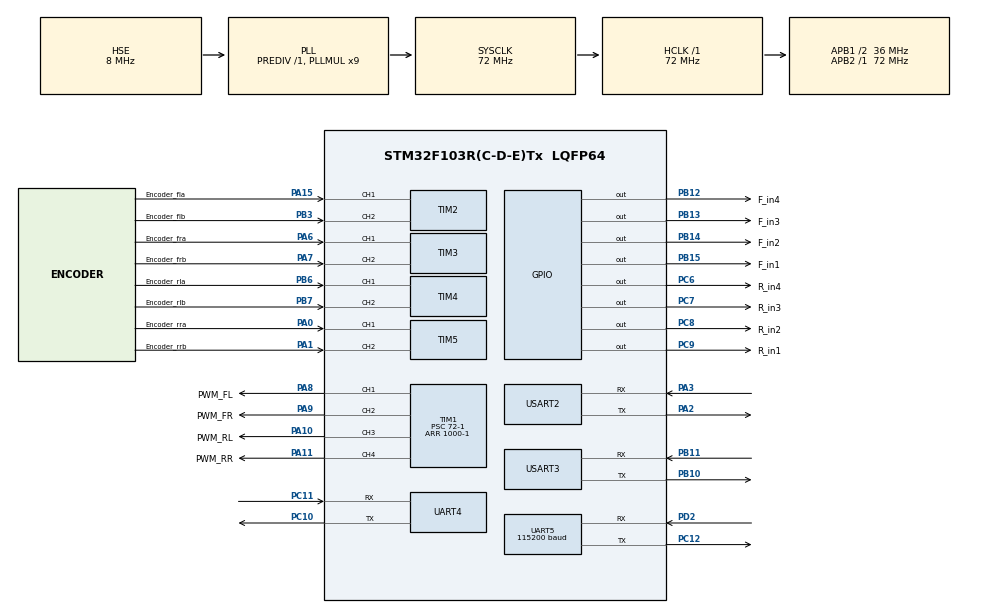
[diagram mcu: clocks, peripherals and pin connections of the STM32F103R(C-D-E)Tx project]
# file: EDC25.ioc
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Dma.Request0=UART4_RX
Dma.Request1=USART3_RX
Dma.UART4_RX.0.Direction=DMA_PERIPH_TO_MEMORY
Dma.UART4_RX.0.Instance=DMA2_Channel3
Dma.UART4_RX.0.MemDataAlignment=DMA_MDATAALIGN_BYTE
Dma.UART4_RX.0.MemInc=DMA_MINC_ENABLE
Dma.UART4_RX.0.Mode=DMA_CIRCULAR
Dma.UART4_RX.0.PeriphDataAlignment=DMA_PDATAALIGN_BYTE
Dma.UART4_RX.0.PeriphInc=DMA_PINC_DISABLE
Dma.UART4_RX.0.Priority=DMA_PRIORITY_LOW
Dma.USART3_RX.1.Direction=DMA_PERIPH_TO_MEMORY
Dma.USART3_RX.1.Instance=DMA1_Channel3
Dma.USART3_RX.1.MemDataAlignment=DMA_MDATAALIGN_BYTE
Dma.USART3_RX.1.MemInc=DMA_MINC_ENABLE
Dma.USART3_RX.1.Mode=DMA_CIRCULAR
Dma.USART3_RX.1.PeriphDataAlignment=DMA_PDATAALIGN_BYTE
Dma.USART3_RX.1.PeriphInc=DMA_PINC_DISABLE
Dma.USART3_RX.1.Priority=DMA_PRIORITY_LOW
Mcu.Family=STM32F1
Mcu.Name=STM32F103R(C-D-E)Tx
Mcu.Package=LQFP64
NVIC.DMA1_Channel3_IRQn=true\:1\:0\:true\:false\:true\:false\:true\:true
NVIC.DMA2_Channel3_IRQn=true\:2\:0\:true\:false\:true\:false\:true\:true
NVIC.PriorityGroup=NVIC_PRIORITYGROUP_4
NVIC.TIM6_IRQn=true\:0\:0\:true\:false\:true\:true\:true\:true
NVIC.UART4_IRQn=true\:2\:0\:true\:false\:true\:true\:true\:true
NVIC.USART3_IRQn=true\:1\:0\:true\:false\:true\:true\:true\:true
PA0-WKUP.GPIO_Label=Encoder_rra
PA0-WKUP.Signal=S_TIM5_CH1
PA1.GPIO_Label=Encoder_rrb
PA1.Signal=S_TIM5_CH2
PA10.GPIO_Label=PWM_RL
PA10.Signal=S_TIM1_CH3
PA11.GPIO_Label=PWM_RR
PA11.Signal=S_TIM1_CH4
PA13.Mode=Serial_Wire
PA13.Signal=SYS_JTMS-SWDIO
PA14.Mode=Serial_Wire
PA14.Signal=SYS_JTCK-SWCLK
PA15.GPIO_Label=Encoder_fla
PA15.Signal=S_TIM2_CH1_ETR
PA2.Mode=Asynchronous
PA2.Signal=USART2_TX
PA3.Mode=Asynchronous
PA3.Signal=USART2_RX
PA6.GPIO_Label=Encoder_fra
PA6.Signal=S_TIM3_CH1
PA7.GPIO_Label=Encoder_frb
PA7.Signal=S_TIM3_CH2
PA8.GPIO_Label=PWM_FL
PA8.Signal=S_TIM1_CH1
PA9.GPIO_Label=PWM_FR
PA9.Signal=S_TIM1_CH2
PB10.Mode=Asynchronous
PB10.Signal=USART3_TX
PB11.Mode=Asynchronous
PB11.Signal=USART3_RX
PB12.GPIO_Label=F_in4
PB12.Signal=GPIO_Output
PB13.GPIO_Label=F_in3
PB13.Signal=GPIO_Output
PB14.GPIO_Label=F_in2
PB14.Signal=GPIO_Output
PB15.GPIO_Label=F_in1
PB15.Signal=GPIO_Output
PB3.GPIO_Label=Encoder_flb
PB3.Signal=S_TIM2_CH2
PB6.GPIO_Label=Encoder_rla
PB6.Signal=S_TIM4_CH1
PB7.GPIO_Label=Encoder_rlb
PB7.Signal=S_TIM4_CH2
PC10.Mode=Asynchronous
PC10.Signal=UART4_TX
PC11.Mode=Asynchronous
PC11.Signal=UART4_RX
PC12.Mode=Asynchronous
PC12.Signal=UART5_TX
PC6.GPIO_Label=R_in4
PC6.Signal=GPIO_Output
PC7.GPIO_Label=R_in3
PC7.Signal=GPIO_Output
PC8.GPIO_Label=R_in2
PC8.Signal=GPIO_Output
PC9.GPIO_Label=R_in1
PC9.Signal=GPIO_Output
PD0-OSC_IN.Mode=HSE-External-Oscillator
PD0-OSC_IN.Signal=RCC_OSC_IN
PD1-OSC_OUT.Mode=HSE-External-Oscillator
PD1-OSC_OUT.Signal=RCC_OSC_OUT
PD2.Mode=Asynchronous
PD2.Signal=UART5_RX
ProjectManager.HeapSize=0x200
ProjectManager.StackSize=0x400
ProjectManager.TargetToolchain=STM32CubeIDE
RCC.AHBFreq_Value=72000000
RCC.APB1CLKDivider=RCC_HCLK_DIV2
RCC.APB1Freq_Value=36000000
RCC.APB1TimFreq_Value=72000000
RCC.APB2Freq_Value=72000000
RCC.APB2TimFreq_Value=72000000
RCC.HCLKFreq_Value=72000000
RCC.PLLMUL=RCC_PLL_MUL9
RCC.PLLSourceVirtual=RCC_PLLSOURCE_HSE
RCC.SYSCLKFreq_VALUE=72000000
RCC.SYSCLKSource=RCC_SYSCLKSOURCE_PLLCLK
RCC.USBFreq_Value=72000000
SH.S_TIM1_CH1.0=TIM1_CH1,PWM Generation1 CH1
SH.S_TIM1_CH2.0=TIM1_CH2,PWM Generation2 CH2
SH.S_TIM1_CH3.0=TIM1_CH3,PWM Generation3 CH3
SH.S_TIM1_CH4.0=TIM1_CH4,PWM Generation4 CH4
SH.S_TIM2_CH1_ETR.0=TIM2_CH1,Encoder_Interface
SH.S_TIM2_CH2.0=TIM2_CH2,Encoder_Interface
SH.S_TIM3_CH1.0=TIM3_CH1,Encoder_Interface
SH.S_TIM3_CH2.0=TIM3_CH2,Encoder_Interface
SH.S_TIM4_CH1.0=TIM4_CH1,Encoder_Interface
SH.S_TIM4_CH2.0=TIM4_CH2,Encoder_Interface
SH.S_TIM5_CH1.0=TIM5_CH1,Encoder_Interface
SH.S_TIM5_CH2.0=TIM5_CH2,Encoder_Interface
TIM1.Channel-PWM\ Generation1\ CH1=TIM_CHANNEL_1
TIM1.Channel-PWM\ Generation2\ CH2=TIM_CHANNEL_2
TIM1.Channel-PWM\ Generation3\ CH3=TIM_CHANNEL_3
TIM1.Channel-PWM\ Generation4\ CH4=TIM_CHANNEL_4
TIM1.Period=1000-1
TIM1.Prescaler=72-1
TIM2.CounterMode=TIM_COUNTERMODE_UP
TIM2.EncoderMode=TIM_ENCODERMODE_TI12
TIM3.EncoderMode=TIM_ENCODERMODE_TI12
TIM4.CounterMode=TIM_COUNTERMODE_DOWN
TIM4.EncoderMode=TIM_ENCODERMODE_TI12
TIM5.EncoderMode=TIM_ENCODERMODE_TI12
TIM6.Period=10000-1
TIM6.Prescaler=72-1
UART4.VirtualMode=Asynchronous
UART5.BaudRate=115200
UART5.VirtualMode=Asynchronous
USART2.VirtualMode=VM_ASYNC
USART3.VirtualMode=VM_ASYNC
VP_TIM1_VS_ClockSourceINT.Mode=Internal
VP_TIM6_VS_ClockSourceINT.Mode=Enable_Timer
board=custom

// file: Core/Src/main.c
/* USER CODE BEGIN Header */
/**
 ******************************************************************************
 * @file           : main.c
 * @brief          : Main program body
 ******************************************************************************
 * @attention
 *
 * Copyright (c) 2023 STMicroelectronics.
 * All rights reserved.
 *
 * This software is licensed under terms that can be found in the LICENSE file
 * in the root directory of this software component.
 * If no LICENSE file comes with this software, it is provided AS-IS.
 *
 ******************************************************************************
 */
/* USER CODE END Header */
#include "main.h"
#include "dma.h"
#include "tim.h"
#include "usart.h"
#include "gpio.h"

/* USER CODE BEGIN Includes */
#include "jy62.h"
#include "motor.h"
#include "pid.h"
#include "zigbee_edc25.h"
#include "decision.h"
#include <math.h>
/* USER CODE END Includes */

void SystemClock_Config(void);

int main(void)
{

  /* MCU Configuration--------------------------------------------------------*/

  /* Reset of all peripherals, Initializes the Flash interface and the Systick. */
  HAL_Init();

  /* Configure the system clock */
  SystemClock_Config();

  /* Initialize all configured peripherals */
  MX_GPIO_Init();
  MX_DMA_Init();
  MX_TIM1_Init();
  MX_TIM2_Init();
  MX_TIM3_Init();
  MX_TIM4_Init();
  MX_TIM5_Init();
  MX_TIM6_Init();
  MX_USART2_UART_Init();
  MX_USART3_UART_Init();
  MX_UART4_Init();
  MX_UART5_Init();
  /* USER CODE BEGIN 2 */
  // Output PWM
  HAL_TIM_PWM_Start(&htim1, TIM_CHANNEL_1); // FL
  HAL_TIM_PWM_Start(&htim1, TIM_CHANNEL_2); // FR
  HAL_TIM_PWM_Start(&htim1, TIM_CHANNEL_3); // RL
  HAL_TIM_PWM_Start(&htim1, TIM_CHANNEL_4); // RR
  // Measure
  HAL_TIM_Encoder_Start(&htim2, TIM_CHANNEL_ALL); // FL
  HAL_TIM_Encoder_Start(&htim3, TIM_CHANNEL_ALL); // FR
  HAL_TIM_Encoder_Start(&htim4, TIM_CHANNEL_ALL); // RL
  HAL_TIM_Encoder_Start(&htim5, TIM_CHANNEL_ALL); // RR
  // Update PWM
  HAL_TIM_Base_Start_IT(&htim6);
  // jy62
  jy62_Init(&huart3);
  InitAngle();
  SetHorizontal();
  Calibrate();
  // zigbee
  zigbee_Init(&huart4);
  // PID
  PID_Init(&FLP_Pid, 500.0f, 10.0f, 0.0f, 40000.0f);
  PID_Init(&FRP_Pid, 500.0f, 10.0f, 0.0f, 40000.0f);
  PID_Init(&RLP_Pid, 500.0f, 10.0f, 0.0f, 40000.0f);
  PID_Init(&RRP_Pid, 500.0f, 10.0f, 0.0f, 40000.0f);
  PID_Init(&FLN_Pid, 500.0f, 10.0f, 0.0f, 40000.0f);
  PID_Init(&FRN_Pid, 500.0f, 10.0f, 0.0f, 40000.0f);
  PID_Init(&RLN_Pid, 500.0f, 10.0f, 0.0f, 40000.0f);
  PID_Init(&RRN_Pid, 500.0f, 10.0f, 0.0f, 40000.0f);

  PID_Init(&xPid, 0.5f, 0.0f, 0.0f, 50.0f);
  PID_Init(&yPid, 0.5f, 0.0f, 0.0f, 50.0f);
  PID_Init(&anglePid, 0.015f, 0.0005f, 0.01f, 20.0f);

  u1_printf("Hello\n");
  HAL_Delay(1000);
  // ready_func();
  /* USER CODE END 2 */

  /* Infinite loop */
  /* USER CODE BEGIN WHILE */
  int cnt = 0;

  while (1)
  {
    /* USER CODE END WHILE */

    /* USER CODE BEGIN 3 */
    HAL_Delay(300);
    getPosition(&now);
    nowGrid = pos2Grid(now);
    getPositionOpponent(&op);
    opGrid = pos2Grid(op);

    agility = getAgility();
    health = getHealth();
    strength = getStrength();
    maxHealth = getMaxHealth();
    wool = getWoolCount();
    emerald = getEmeraldCount();
    time = getGameTime();
    cd = (agility < 32) ? (170 - 5 * agility) : 10;

//    if (cnt == 15)
//       goal.posy = 1.5;
//    else if (cnt == 30)
//       goal.posy = -0.5;
//    else if (cnt == 45)
//    {
//       goal.posy = 0.5;
//       cnt = 0;
//    }
//    cnt ++;

    u1_printf("yaw:%f\n", yaw);
//		u1_printf("now:(%d,%d)\n", nowGrid.x, nowGrid.y);
    u1_printf("now pos:(%f,%f)\n", now.posx, now.posy);
//		u1_printf("goal:(%d,%d)\n", goalGrid.x, goalGrid.y);
    u1_printf("goal pos:(%f,%f)\n", goal.posx, goal.posy);
//		u1_printf("des:(%d,%d)\n", desGrid.x, desGrid.y);
//		u1_printf("home:(%d,%d)\n", homeGrid.x, homeGrid.y);
//		u1_printf("ophome:(%d,%d)\n", opHomeGrid.x, opHomeGrid.y);
//    u1_printf("mine: %d\n",mineNum);
//    u1_printf("07: %d\n",getOreKindOfId(7));
    u1_printf("score: %f\n", find_optimal_mine().score);
    if (getGameStage() == READY)
      ready_func();
//		    ;
    else if (getGameStage() != FINISHED)
    {
      update_mine();
      statusChange();
      switch (status)
      {
        case init:
          u1_printf("init\n");
          init_func();
          break;
        case dead:
          u1_printf("dead\n");
          dead_func();
          break;
        case protect:
          u1_printf("protect\n");
          protect_func();
          break;
        case destroy:
          u1_printf("destroy\n");
          destroy_func();
          break;
        case attack:
          u1_printf("attack\n");
          attack_func();
          break;
        case mine:
          u1_printf("mine\n");
          mine_func();
          break;
        case get_wool:
          u1_printf("get wool\n");
          get_wool_func();
          break;
        case get_enhanced:
          u1_printf("get enhanced\n");
          get_enhanced_func();
          break;
        default:
          break;
      }
    }
    else
      ;
  }
  /* USER CODE END 3 */
}

void SystemClock_Config(void)
{
  RCC_OscInitTypeDef RCC_OscInitStruct = { 0 };
  RCC_ClkInitTypeDef RCC_ClkInitStruct = { 0 };

  /** Initializes the RCC Oscillators according to the specified parameters
   * in the RCC_OscInitTypeDef structure.
   */
  RCC_OscInitStruct.OscillatorType = RCC_OSCILLATORTYPE_HSE;
  RCC_OscInitStruct.HSEState = RCC_HSE_ON;
  RCC_OscInitStruct.HSEPredivValue = RCC_HSE_PREDIV_DIV1;
  RCC_OscInitStruct.HSIState = RCC_HSI_ON;
  RCC_OscInitStruct.PLL.PLLState = RCC_PLL_ON;
  RCC_OscInitStruct.PLL.PLLSource = RCC_PLLSOURCE_HSE;
  RCC_OscInitStruct.PLL.PLLMUL = RCC_PLL_MUL9;
  if (HAL_RCC_OscConfig(&RCC_OscInitStruct) != HAL_OK)
  {
    Error_Handler();
  }

  /** Initializes the CPU, AHB and APB buses clocks
   */
  RCC_ClkInitStruct.ClockType = RCC_CLOCKTYPE_HCLK | RCC_CLOCKTYPE_SYSCLK
      | RCC_CLOCKTYPE_PCLK1 | RCC_CLOCKTYPE_PCLK2;
  RCC_ClkInitStruct.SYSCLKSource = RCC_SYSCLKSOURCE_PLLCLK;
  RCC_ClkInitStruct.AHBCLKDivider = RCC_SYSCLK_DIV1;
  RCC_ClkInitStruct.APB1CLKDivider = RCC_HCLK_DIV2;
  RCC_ClkInitStruct.APB2CLKDivider = RCC_HCLK_DIV1;

  if (HAL_RCC_ClockConfig(&RCC_ClkInitStruct, FLASH_LATENCY_2) != HAL_OK)
  {
    Error_Handler();
  }
}

/* USER CODE BEGIN 4 */
void HAL_TIM_PeriodElapsedCallback(TIM_HandleTypeDef *htim)
{
  if (htim->Instance == TIM6)
  {
    Mecanum_Pos(now, goal);
//    Update_Dual_Pwm();
    Update_Single_Pwm();
  }
}
/* USER CODE END 4 */

void Error_Handler(void)
{
  __disable_irq();
  while (1)
  {
  }
}
